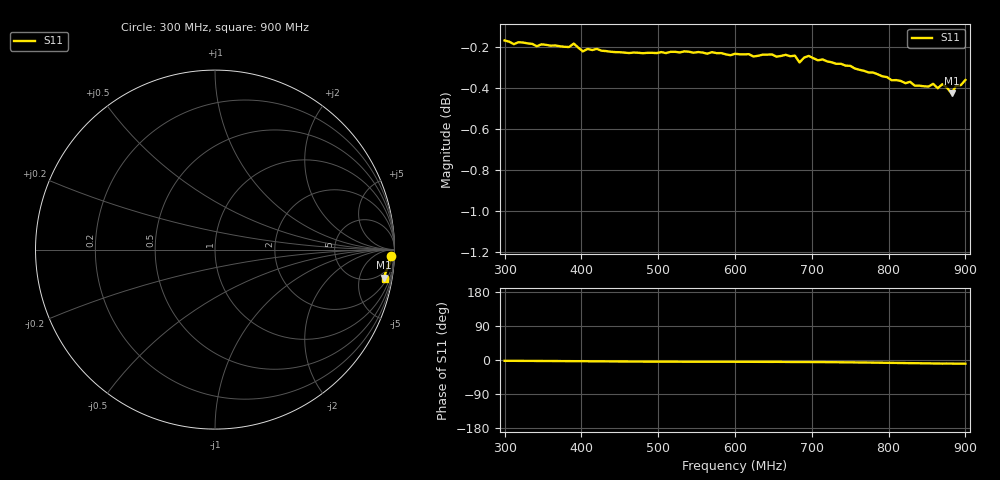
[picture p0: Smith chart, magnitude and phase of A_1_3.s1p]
# HZ S RI R 50
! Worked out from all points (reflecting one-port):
!   101 points, 300 MHz to 900 MHz, reference 50 ohm
!   lowest |S11| = -0.4 dB at 882 MHz (marker M1), VSWR 40.62, Z = 166 - j554 ohm
!   phase of S11 starts at -2 deg and turns -8 deg over the sweep
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3e8  0.9799 -0.0374
3.12e8  0.9779 -0.0372
3.78e8  0.9759 -0.05
3.9e8  0.9775 -0.0529
3.96e8  0.9752 -0.0537
4.02e8  0.9733 -0.0513
4.08e8  0.9744 -0.0563
4.5e8  0.972 -0.0656
4.68e8  0.9715 -0.0703
5.28e8  0.9711 -0.0762
6e8  0.9701 -0.0791
6.48e8  0.9693 -0.0845
6.54e8  0.9682 -0.0825
6.78e8  0.9683 -0.0882
6.84e8  0.9647 -0.087
6.96e8  0.968 -0.0902
7.5e8  0.9611 -0.1046
7.8e8  0.9562 -0.1153
8.04e8  0.9506 -0.1268
8.28e8  0.9483 -0.1377
8.34e8  0.9458 -0.1399
8.58e8  0.9451 -0.1514
8.64e8  0.9423 -0.1535
8.7e8  0.9438 -0.158
8.76e8  0.9424 -0.1555
8.82e8  0.939 -0.1567
8.88e8  0.9427 -0.1599
9e8  0.9452 -0.1631
